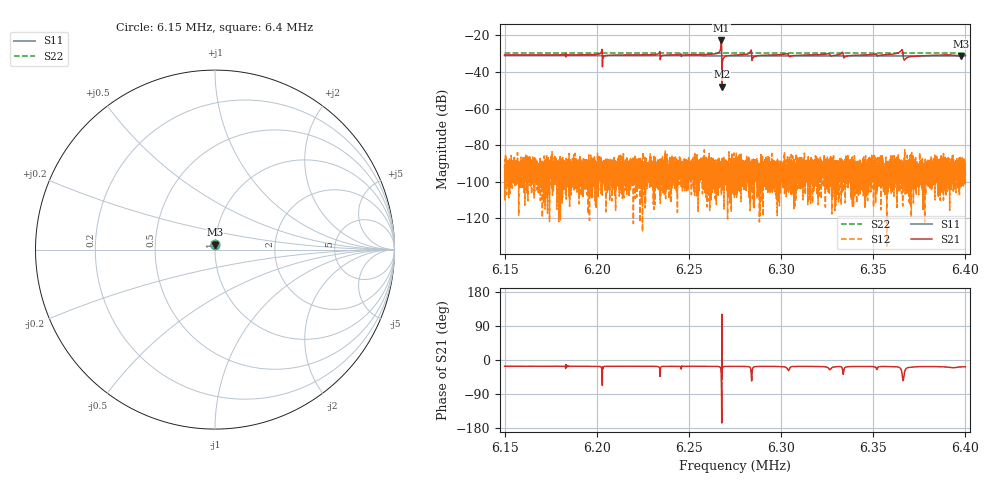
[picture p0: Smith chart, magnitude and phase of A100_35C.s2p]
!CETC41,AV3656A,ZGL00048,1.3.2
!Calibration ON (Full Solt 2-Port(Omit Isolation))
!Measurements: S11 S21 S12 S22
!2025-04-18 22:20
# Hz  S  dB  R 50.000
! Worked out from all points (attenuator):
!   6401 points, 6.15 MHz to 6.4 MHz, reference 50 ohm
!   highest |S21| = -22.74 dB at 6.2677 MHz (marker M1); lowest = -48.0 dB at 6.2679 MHz (marker M2)
!   lowest |S11| = -31.2 dB at 6.3975 MHz (marker M3), VSWR 1.06, Z = 49.9 + j2.74 ohm
!   |S11| at or under -10 dB: start of sweep to end of sweep
!   |S22| runs from -29.7 to -29.6 dB; largest |S21 - S12| = 0.073
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6150000  -31.05 84.6  -30.67 -16.6  -92.47 56.6  -29.59 90.3
6191680  -31.08 85.6  -30.59 -16.6  -100.73 117.5  -29.60 91.2
6201719  -31.09 85.9  -30.01 -17.0  -95.20 -100.7  -29.60 91.5
6204258  -31.09 86.0  -31.19 -16.8  -91.73 -2.9  -29.60 91.5
6233359  -31.08 86.5  -30.08 -17.4  -99.86 101.0  -29.61 92.1
6262188  -31.11 87.3  -30.26 -16.8  -93.38 132.7  -29.62 92.7
6266523  -31.12 87.4  -29.03 -17.4  -95.95 163.5  -29.62 92.7
6267656  -31.13 87.4  -22.74 -74.4  -96.60 45.6  -29.62 92.9
6267852  -31.11 87.5  -48.00 120.8  -91.22 24.0  -29.63 92.7
6269063  -31.12 87.4  -31.96 -17.4  -91.73 86.0  -29.62 92.8
6270352  -31.14 87.5  -31.26 -16.9  -98.84 25.6  -29.62 92.8
6275000  -31.14 87.6  -30.73 -16.9  -91.39 -103.3  -29.62 92.9
6282734  -31.13 87.7  -29.68 -18.0  -91.55 29.4  -29.62 93.1
6285313  -31.14 87.8  -31.69 -18.1  -100.66 172.7  -29.63 93.2
6316680  -31.17 88.6  -30.61 -17.0  -93.77 60.1  -29.63 93.8
6332461  -31.17 88.9  -30.07 -17.8  -87.30 126.0  -29.64 94.1
6335039  -31.19 89.0  -31.49 -18.7  -97.39 55.6  -29.64 94.1
6358359  -31.20 89.5  -30.40 -17.2  -96.77 76.4  -29.64 94.7
6364883  -31.20 89.7  -28.58 -23.0  -91.74 20.2  -29.64 94.8
6367617  -31.20 89.8  -32.70 -24.0  -103.58 -7.0  -29.64 94.9
6397461  -31.25 90.5  -30.94 -18.3  -93.78 71.4  -29.66 95.4
6400000  -31.24 90.5  -30.82 -17.9  -95.49 54.5  -29.65 95.5
